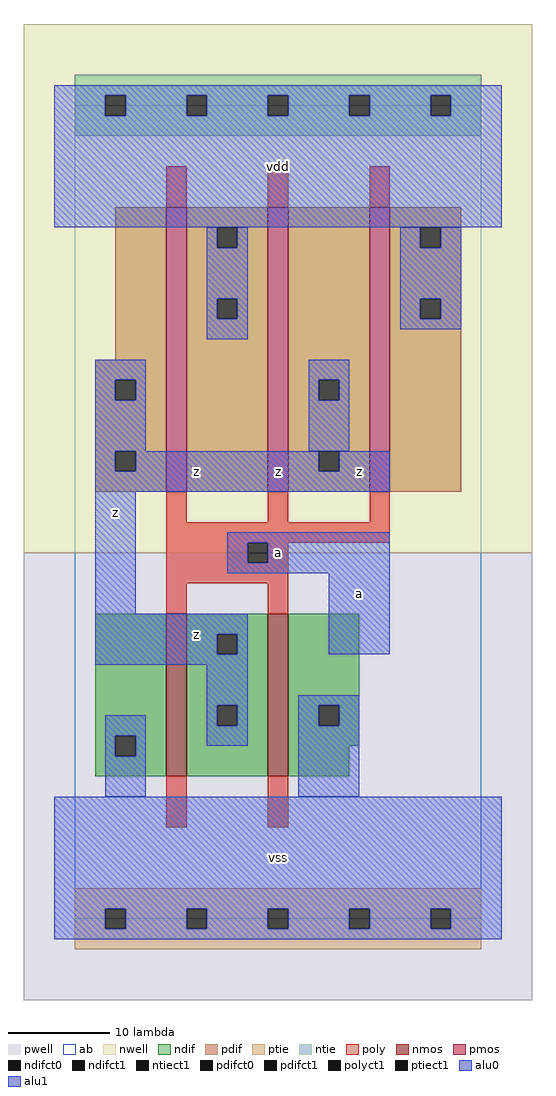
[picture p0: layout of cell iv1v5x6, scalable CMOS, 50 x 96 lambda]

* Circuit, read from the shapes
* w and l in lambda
.subckt iv1v5x6 a vdd vss z
M1 z a vss vss nfet w=16 l=2 m=2
M2 vdd a z vdd pfet w=28 l=2 m=3
.ends

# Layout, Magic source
magic
tech scmos
<< ab >>
rect 0 0 40 80
<< nwell >>
rect -5 36 45 88
<< pwell >>
rect -5 -8 45 36
<< poly >>
rect 9 70 11 74
rect 19 70 21 74
rect 29 70 31 74
rect 9 39 11 42
rect 19 39 21 42
rect 29 39 31 42
rect 9 37 31 39
rect 9 35 17 37
rect 19 35 21 37
rect 9 33 21 35
rect 9 30 11 33
rect 19 30 21 33
rect 9 9 11 14
rect 19 9 21 14
<< ndif >>
rect 2 18 9 30
rect 2 16 4 18
rect 6 16 9 18
rect 2 14 9 16
rect 11 28 19 30
rect 11 26 14 28
rect 16 26 19 28
rect 11 21 19 26
rect 11 19 14 21
rect 16 19 19 21
rect 11 14 19 19
rect 21 21 28 30
rect 21 19 24 21
rect 26 19 28 21
rect 21 17 28 19
rect 21 14 27 17
<< pdif >>
rect 4 55 9 70
rect 2 53 9 55
rect 2 51 4 53
rect 6 51 9 53
rect 2 46 9 51
rect 2 44 4 46
rect 6 44 9 46
rect 2 42 9 44
rect 11 68 19 70
rect 11 66 14 68
rect 16 66 19 68
rect 11 61 19 66
rect 11 59 14 61
rect 16 59 19 61
rect 11 42 19 59
rect 21 53 29 70
rect 21 51 24 53
rect 26 51 29 53
rect 21 46 29 51
rect 21 44 24 46
rect 26 44 29 46
rect 21 42 29 44
rect 31 68 38 70
rect 31 66 34 68
rect 36 66 38 68
rect 31 61 38 66
rect 31 59 34 61
rect 36 59 38 61
rect 31 42 38 59
<< alu1 >>
rect -2 81 42 82
rect -2 79 3 81
rect 5 79 11 81
rect 13 79 19 81
rect 21 79 27 81
rect 29 79 35 81
rect 37 79 42 81
rect -2 68 42 79
rect 2 53 7 55
rect 2 51 4 53
rect 6 51 7 53
rect 2 46 7 51
rect 2 44 4 46
rect 6 44 24 46
rect 26 44 31 46
rect 2 42 31 44
rect 2 30 6 42
rect 15 37 31 38
rect 15 35 17 37
rect 19 35 31 37
rect 15 34 31 35
rect 2 28 17 30
rect 2 26 14 28
rect 16 26 17 28
rect 25 26 31 34
rect 2 25 17 26
rect 13 21 17 25
rect 13 19 14 21
rect 16 19 17 21
rect 13 17 17 19
rect -2 1 42 12
rect -2 -1 3 1
rect 5 -1 11 1
rect 13 -1 19 1
rect 21 -1 27 1
rect 29 -1 35 1
rect 37 -1 42 1
rect -2 -2 42 -1
<< ptie >>
rect 0 1 40 3
rect 0 -1 3 1
rect 5 -1 11 1
rect 13 -1 19 1
rect 21 -1 27 1
rect 29 -1 35 1
rect 37 -1 40 1
rect 0 -3 40 -1
<< ntie >>
rect 0 81 40 83
rect 0 79 3 81
rect 5 79 11 81
rect 13 79 19 81
rect 21 79 27 81
rect 29 79 35 81
rect 37 79 40 81
rect 0 77 40 79
<< nmos >>
rect 9 14 11 30
rect 19 14 21 30
<< pmos >>
rect 9 42 11 70
rect 19 42 21 70
rect 29 42 31 70
<< polyct1 >>
rect 17 35 19 37
<< ndifct0 >>
rect 4 16 6 18
rect 24 19 26 21
<< ndifct1 >>
rect 14 26 16 28
rect 14 19 16 21
<< ntiect1 >>
rect 3 79 5 81
rect 11 79 13 81
rect 19 79 21 81
rect 27 79 29 81
rect 35 79 37 81
<< ptiect1 >>
rect 3 -1 5 1
rect 11 -1 13 1
rect 19 -1 21 1
rect 27 -1 29 1
rect 35 -1 37 1
<< pdifct0 >>
rect 14 66 16 68
rect 14 59 16 61
rect 24 51 26 53
rect 34 66 36 68
rect 34 59 36 61
<< pdifct1 >>
rect 4 51 6 53
rect 4 44 6 46
rect 24 44 26 46
<< alu0 >>
rect 13 66 14 68
rect 16 66 17 68
rect 13 61 17 66
rect 13 59 14 61
rect 16 59 17 61
rect 13 57 17 59
rect 32 66 34 68
rect 36 66 38 68
rect 32 61 38 66
rect 32 59 34 61
rect 36 59 38 61
rect 32 58 38 59
rect 23 53 27 55
rect 23 51 24 53
rect 26 51 27 53
rect 23 46 27 51
rect 3 18 7 20
rect 3 16 4 18
rect 6 16 7 18
rect 22 21 28 22
rect 22 19 24 21
rect 26 19 28 21
rect 3 12 7 16
rect 22 12 28 19
<< labels >>
rlabel alu1 4 40 4 40 6 z
rlabel alu1 12 28 12 28 6 z
rlabel alu1 12 44 12 44 6 z
rlabel alu1 20 6 20 6 6 vss
rlabel alu1 20 36 20 36 6 a
rlabel alu1 28 32 28 32 6 a
rlabel alu1 28 44 28 44 6 z
rlabel alu1 20 44 20 44 6 z
rlabel alu1 20 74 20 74 6 vdd
<< end >>
